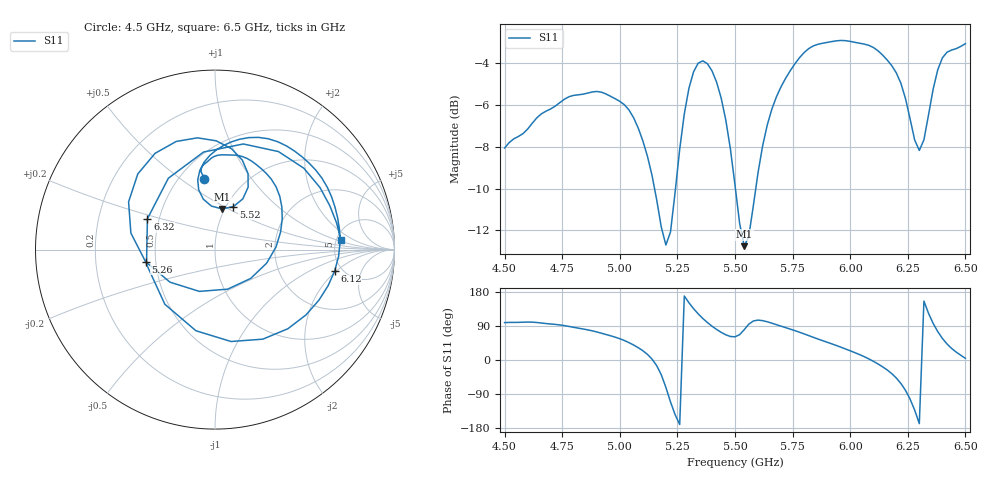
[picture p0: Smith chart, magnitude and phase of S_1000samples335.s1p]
! TOUCHSTONE file generated by CST MICROWAVE STUDIO
! Date and time: Thu Oct 27 19:51:30 2022
! Project name: L.cst
! Parameters = {Di=1.27; Epsilon_r=1.56; InnerDiameter=1.27; Length=2; Lf=10; Lg=60; OuterConductorThickness=0.2921; OuterDiameter=3.6; Wf=3; Wp=41.2; de=1.5; df=6.8; g=0.8; gx=0.537861; gy=2.16535; h=2.34; hf=1.524; px=12.2195; py=10.8503; w=9.7; wx=11.6817; wy=8.68495}
! Header version: 2018
! Port assignment regex: !\s*Touchstone port\s*([0-9]+)\s*=\s*(CST MWS port|CST DS port)\s*([0-9]+|Zmin|Zmax)\s*\(\"(.*)\"\)(\s*mode\s*([0-9]+))?.*
! Touchstone port assignment:
! Touchstone port 1 = CST MWS port 1 ("")
# GHz S DB R 50
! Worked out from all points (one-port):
!   101 points, 4.5 GHz to 6.5 GHz, reference 50 ohm
!   lowest |S11| = -12.8 dB at 5.54 GHz (marker M1), VSWR 1.60, Z = 48.7 + j23.3 ohm
!   |S11| at or under -10 dB: 5.151 GHz to 5.242 GHz (91.03 MHz wide, 1.75 % of centre); 5.502 GHz to 5.59 GHz (88.36 MHz wide, 1.59 % of centre)
!   S11 on the Smith chart (normalised r, x): 4.5 GHz: 0.66, +0.61; 5.26 GHz: 0.44, -0.07; 5.52 GHz: 1.08, +0.56; 6.12 GHz: 4.31, -1.91; 6.32 GHz: 0.43, +0.18; 6.5 GHz: 5.49, +1.18
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4.5  -8.06 98.6
4.76  -5.71 90.7
5  -5.82 56.1
5.08  -7.10 32.5
5.14  -9.38 2.3
5.2  -12.71 -72.3
5.22  -12.09 -110.6
5.26  -8.11 -170.2
5.3  -5.19 151.1
5.36  -3.87 109.7
5.44  -5.66 73.0
5.5  -9.83 61.3
5.52  -11.66 66.8
5.54  -12.76 80.0
5.62  -7.95 103.9
5.76  -4.02 77.5
5.86  -3.08 55.4
6  -2.94 24.3
6.12  -3.38 -10.2
6.2  -4.45 -47.4
6.24  -5.68 -80.1
6.26  -6.66 -103.2
6.3  -8.17 -167.9
6.32  -7.66 155.5
6.36  -5.23 96.7
6.38  -4.30 75.0
6.42  -3.46 42.5
6.5  -3.05 4.4
